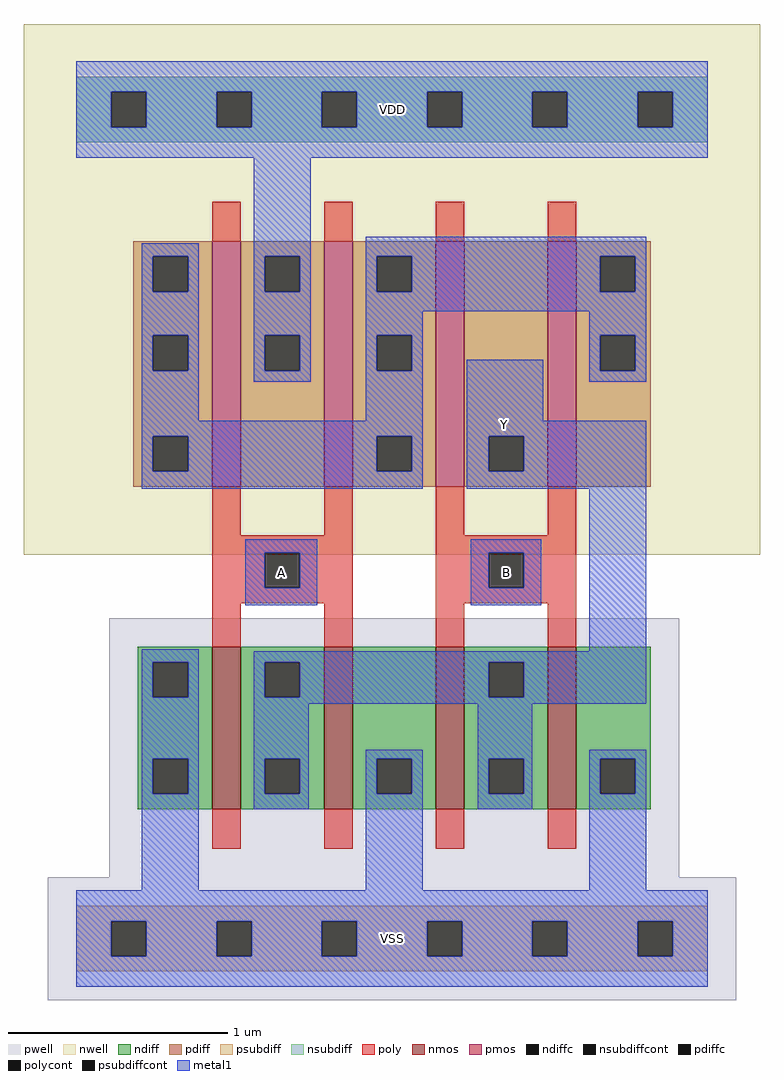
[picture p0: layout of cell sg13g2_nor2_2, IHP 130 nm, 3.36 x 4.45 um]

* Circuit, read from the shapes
.subckt sg13g2_nor2_2 A VDD Y VSS B
XM1 Y A VSS VSS sg13_lv_nmos w=0.74u l=0.13u m=2
XM2 Y B VSS VSS sg13_lv_nmos w=0.74u l=0.13u m=2
XM3 VDD A n1 VDD sg13_lv_pmos w=1.12u l=0.13u m=2
XM4 Y B n1 VDD sg13_lv_pmos w=1.12u l=0.13u m=2
.ends

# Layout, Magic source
magic
tech ihp-sg13g2
<< nwell >>
rect -24 175 312 417
<< pwell >>
rect 15 28 275 146
rect -13 -28 301 28
<< nmos >>
rect 62 59 75 133
rect 113 59 126 133
rect 164 59 177 133
rect 215 59 228 133
<< pmos >>
rect 62 206 75 318
rect 113 206 126 318
rect 164 206 177 318
rect 215 206 228 318
<< ndiff >>
rect 28 126 62 133
rect 28 110 35 126
rect 51 110 62 126
rect 28 82 62 110
rect 28 66 35 82
rect 51 66 62 82
rect 28 59 62 66
rect 75 126 113 133
rect 75 110 86 126
rect 102 110 113 126
rect 75 82 113 110
rect 75 66 86 82
rect 102 66 113 82
rect 75 59 113 66
rect 126 82 164 133
rect 126 66 137 82
rect 153 66 164 82
rect 126 59 164 66
rect 177 126 215 133
rect 177 110 188 126
rect 204 110 215 126
rect 177 82 215 110
rect 177 66 188 82
rect 204 66 215 82
rect 177 59 215 66
rect 228 82 262 133
rect 228 66 239 82
rect 255 66 262 82
rect 228 59 262 66
<< pdiff >>
rect 26 311 62 318
rect 26 295 35 311
rect 51 295 62 311
rect 26 275 62 295
rect 26 259 35 275
rect 51 259 62 275
rect 26 229 62 259
rect 26 213 35 229
rect 51 213 62 229
rect 26 206 62 213
rect 75 311 113 318
rect 75 295 86 311
rect 102 295 113 311
rect 75 275 113 295
rect 75 259 86 275
rect 102 259 113 275
rect 75 206 113 259
rect 126 311 164 318
rect 126 295 137 311
rect 153 295 164 311
rect 126 275 164 295
rect 126 259 137 275
rect 153 259 164 275
rect 126 229 164 259
rect 126 213 137 229
rect 153 213 164 229
rect 126 206 164 213
rect 177 229 215 318
rect 177 213 188 229
rect 204 213 215 229
rect 177 206 215 213
rect 228 311 262 318
rect 228 295 239 311
rect 255 295 262 311
rect 228 275 262 295
rect 228 259 239 275
rect 255 259 262 275
rect 228 206 262 259
<< ndiffc >>
rect 35 110 51 126
rect 35 66 51 82
rect 86 110 102 126
rect 86 66 102 82
rect 137 66 153 82
rect 188 110 204 126
rect 188 66 204 82
rect 239 66 255 82
<< pdiffc >>
rect 35 295 51 311
rect 35 259 51 275
rect 35 213 51 229
rect 86 295 102 311
rect 86 259 102 275
rect 137 295 153 311
rect 137 259 153 275
rect 137 213 153 229
rect 188 213 204 229
rect 239 295 255 311
rect 239 259 255 275
<< psubdiff >>
rect 0 8 288 15
rect 0 -8 16 8
rect 32 -8 64 8
rect 80 -8 112 8
rect 128 -8 160 8
rect 176 -8 208 8
rect 224 -8 256 8
rect 272 -8 288 8
rect 0 -15 288 -8
<< nsubdiff >>
rect 0 386 288 393
rect 0 370 16 386
rect 32 370 64 386
rect 80 370 112 386
rect 128 370 160 386
rect 176 370 208 386
rect 224 370 256 386
rect 272 370 288 386
rect 0 363 288 370
<< psubdiffcont >>
rect 16 -8 32 8
rect 64 -8 80 8
rect 112 -8 128 8
rect 160 -8 176 8
rect 208 -8 224 8
rect 256 -8 272 8
<< nsubdiffcont >>
rect 16 370 32 386
rect 64 370 80 386
rect 112 370 128 386
rect 160 370 176 386
rect 208 370 224 386
rect 256 370 272 386
<< poly >>
rect 62 318 75 336
rect 113 318 126 336
rect 164 318 177 336
rect 215 318 228 336
rect 62 184 75 206
rect 113 184 126 206
rect 62 176 126 184
rect 62 160 86 176
rect 102 160 126 176
rect 62 153 126 160
rect 62 133 75 153
rect 113 133 126 153
rect 164 184 177 206
rect 215 184 228 206
rect 164 176 228 184
rect 164 160 188 176
rect 204 160 228 176
rect 164 153 228 160
rect 164 133 177 153
rect 215 133 228 153
rect 62 41 75 59
rect 113 41 126 59
rect 164 41 177 59
rect 215 41 228 59
<< polycont >>
rect 86 160 102 176
rect 188 160 204 176
<< metal1 >>
rect 0 386 288 400
rect 0 370 16 386
rect 32 370 64 386
rect 80 370 112 386
rect 128 370 160 386
rect 176 370 208 386
rect 224 370 256 386
rect 272 370 288 386
rect 0 356 288 370
rect 30 311 56 317
rect 30 295 35 311
rect 51 295 56 311
rect 30 275 56 295
rect 30 259 35 275
rect 51 259 56 275
rect 30 236 56 259
rect 81 311 107 356
rect 81 295 86 311
rect 102 295 107 311
rect 81 275 107 295
rect 81 259 86 275
rect 102 259 107 275
rect 81 254 107 259
rect 132 311 260 320
rect 132 295 137 311
rect 153 295 239 311
rect 255 295 260 311
rect 132 286 260 295
rect 132 275 158 286
rect 132 259 137 275
rect 153 259 158 275
rect 234 275 260 286
rect 132 236 158 259
rect 30 229 158 236
rect 30 213 35 229
rect 51 213 137 229
rect 153 213 158 229
rect 30 205 158 213
rect 178 236 213 264
rect 234 259 239 275
rect 255 259 260 275
rect 234 254 260 259
rect 178 229 260 236
rect 178 213 188 229
rect 204 213 260 229
rect 178 205 260 213
rect 77 176 110 182
rect 77 160 86 176
rect 102 160 110 176
rect 77 152 110 160
rect 180 176 212 182
rect 180 160 188 176
rect 204 160 212 176
rect 180 152 212 160
rect 30 126 56 132
rect 234 131 260 205
rect 30 110 35 126
rect 51 110 56 126
rect 30 82 56 110
rect 30 66 35 82
rect 51 66 56 82
rect 30 22 56 66
rect 81 126 260 131
rect 81 110 86 126
rect 102 110 188 126
rect 204 110 260 126
rect 81 107 260 110
rect 81 82 106 107
rect 81 66 86 82
rect 102 66 106 82
rect 81 59 106 66
rect 132 82 158 86
rect 132 66 137 82
rect 153 66 158 82
rect 132 22 158 66
rect 183 82 208 107
rect 183 66 188 82
rect 204 66 208 82
rect 183 59 208 66
rect 234 82 260 86
rect 234 66 239 82
rect 255 66 260 82
rect 234 22 260 66
rect 0 8 288 22
rect 0 -8 16 8
rect 32 -8 64 8
rect 80 -8 112 8
rect 128 -8 160 8
rect 176 -8 208 8
rect 224 -8 256 8
rect 272 -8 288 8
rect 0 -22 288 -8
<< labels >>
flabel metal1 s 77 152 110 182 0 FreeSans 200 0 0 0 A
port 2 nsew
flabel metal1 s 0 356 288 400 0 FreeSans 200 0 0 0 VDD
port 3 nsew
flabel metal1 s 178 205 213 264 0 FreeSans 200 0 0 0 Y
port 4 nsew
flabel metal1 s 0 -22 288 22 0 FreeSans 200 0 0 0 VSS
port 5 nsew
flabel metal1 s 180 152 212 182 0 FreeSans 200 0 0 0 B
port 6 nsew
<< properties >>
string FIXED_BBOX 0 0 288 378
string GDS_END 153712
string GDS_FILE ../gds/controller.gds
string GDS_START 144890
<< end >>
